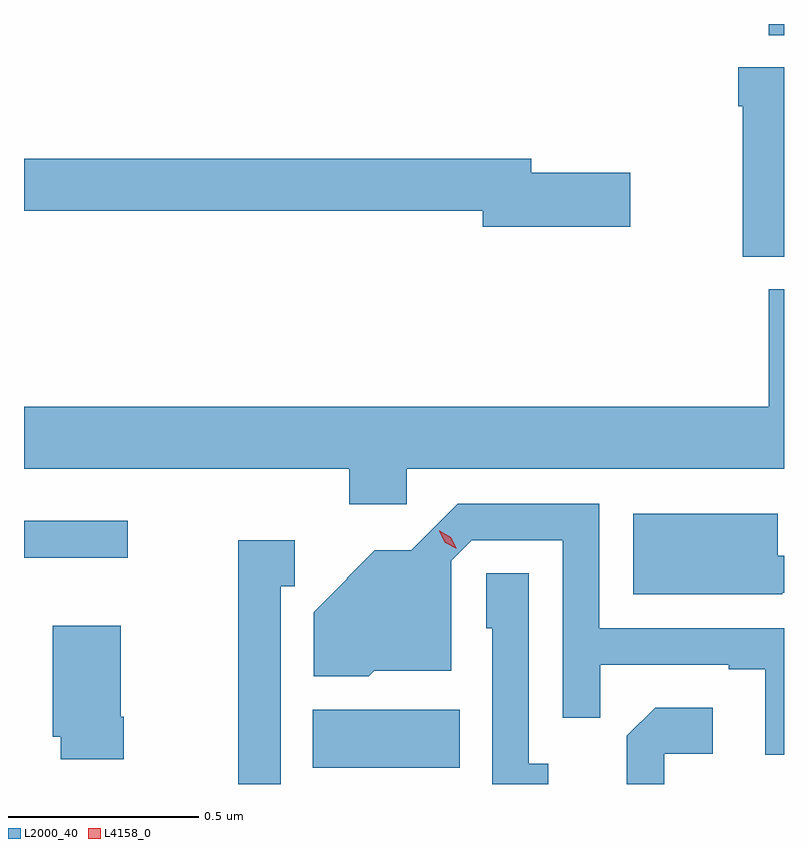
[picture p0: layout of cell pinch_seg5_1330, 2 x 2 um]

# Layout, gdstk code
import gdstk
lib = gdstk.Library(unit=1e-6, precision=1e-09)
def R(c, l, rs):  # rectangles x0, y0, x1, y1
    for r in rs: c.add(gdstk.rectangle(r[:2], r[2:], *l))
def P(c, l, *ps):  # polygons
    for p in ps: c.add(gdstk.Polygon(p, *l))
L2000_40 = (2000, 40)
L4158_0 = (4158, 0)

pinch_seg5_1330 = lib.new_cell('pinch_seg5_1330')
R(pinch_seg5_1330, L2000_40, [(376.463,854.642,376.85,854.794), (375.703,855.195,375.976,855.292), (377.663,856.57,377.703,856.599)])
P(pinch_seg5_1330, L2000_40, [(377.703,856.485),(377.582,856.485),(377.582,856.382),(377.594,856.382),(377.594,855.986),(377.703,855.986)],
  [(377.299,856.208),(377.038,856.208),(377.038,856.244),(375.703,856.244),(375.703,856.108),(376.91,856.108),(376.91,856.066),(377.299,856.066)],
  [(376.71,855.428),(377.703,855.428),(377.703,855.901),(377.663,855.901),(377.663,855.592),(375.703,855.592),(375.703,855.428),(376.559,855.428),(376.559,855.335),(376.71,855.335)],
  [(377.703,855.009),(377.217,855.009),(377.217,855.336),(376.844,855.336),(376.722,855.214),(376.626,855.214),(376.552,855.14),(376.554,855.139),(376.466,855.051),(376.466,854.882),(376.61,854.882),(376.625,854.897),(376.827,854.897),(376.827,855.186),(376.881,855.24),(377.121,855.24),(377.121,854.774),(377.219,854.774),(377.219,854.913),(377.558,854.913),(377.558,854.901),(377.654,854.901),(377.654,854.676),(377.703,854.676)],
  [(377.699,855.102),(377.703,855.102),(377.703,855.2),(377.686,855.2),(377.686,855.31),(377.306,855.31),(377.306,855.098),(377.699,855.098)],
  [(376.378,855.12),(376.416,855.12),(376.416,855.241),(376.267,855.241),(376.267,854.599),(376.378,854.599)],
  [(377.083,854.652),(377.031,854.652),(377.031,855.154),(376.92,855.154),(376.92,855.009),(376.935,855.009),(376.935,854.599),(377.083,854.599)],
  [(375.966,854.776),(375.958,854.776),(375.958,855.016),(375.779,855.016),(375.779,854.724),(375.8,854.724),(375.8,854.664),(375.966,854.664)],
  [(377.388,854.679),(377.515,854.679),(377.515,854.8),(377.364,854.8),(377.289,854.726),(377.289,854.599),(377.388,854.599)])
P(pinch_seg5_1330, L4158_0, [(376.842,855.218),(376.812,855.234),(376.796,855.264),(376.796,855.265),(376.797,855.265),(376.826,855.248),(376.842,855.218),(376.842,855.218)])

lib.write_gds('pinch_seg5_1330.gds')
